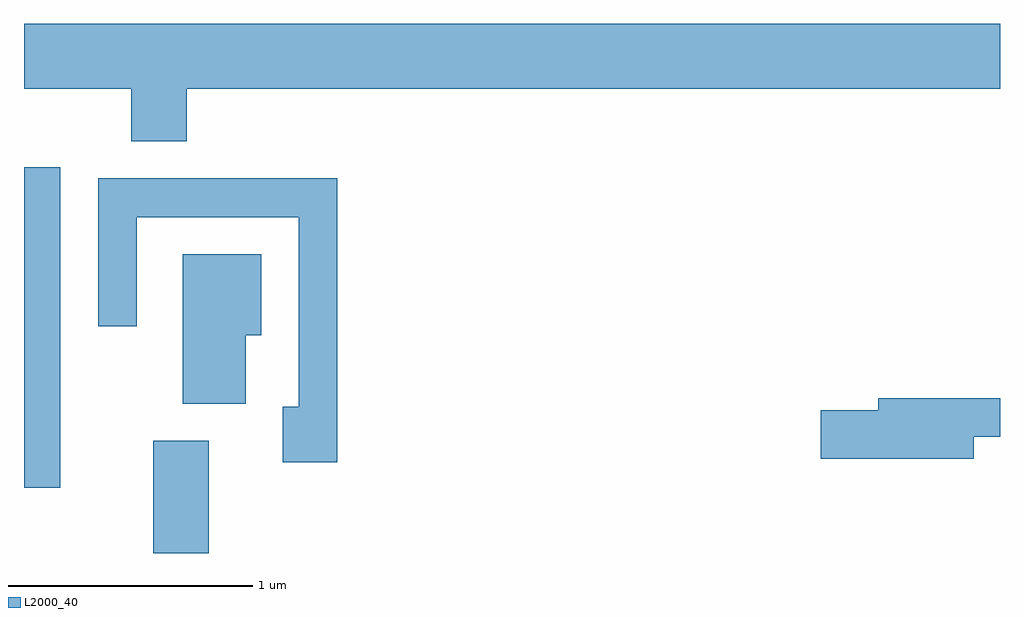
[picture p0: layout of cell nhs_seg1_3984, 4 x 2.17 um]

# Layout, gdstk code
import gdstk
lib = gdstk.Library(unit=1e-6, precision=1e-09)
def R(c, l, rs):  # rectangles x0, y0, x1, y1
    for r in rs: c.add(gdstk.rectangle(r[:2], r[2:], *l))
def P(c, l, *ps):  # polygons
    for p in ps: c.add(gdstk.Polygon(p, *l))
L2000_40 = (2000, 40)

nhs_seg1_3984 = lib.new_cell('nhs_seg1_3984')
R(nhs_seg1_3984, L2000_40, [(306.141,857.712,306.369,858.174), (305.611,857.981,305.759,859.294)])
P(nhs_seg1_3984, L2000_40, [(306.279,859.616),(309.611,859.616),(309.611,859.884),(305.611,859.884),(305.611,859.616),(306.051,859.616),(306.051,859.401),(306.279,859.401)],
  [(306.894,859.249),(305.916,859.249),(305.916,858.643),(306.074,858.643),(306.074,859.091),(306.736,859.091),(306.736,858.314),(306.671,858.314),(306.671,858.086),(306.894,858.086)],
  [(306.519,858.606),(306.584,858.606),(306.584,858.939),(306.261,858.939),(306.261,858.326),(306.519,858.326)],
  [(309.504,858.191),(309.611,858.191),(309.611,858.349),(309.111,858.349),(309.111,858.299),(308.876,858.299),(308.876,858.101),(309.504,858.101)])

lib.write_gds('nhs_seg1_3984.gds')
